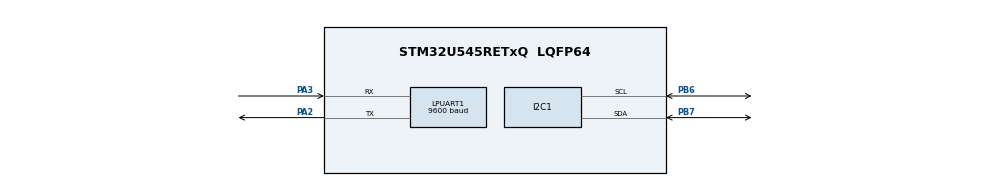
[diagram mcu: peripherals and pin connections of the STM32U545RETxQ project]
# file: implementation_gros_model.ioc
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CORTEX_M33_NS.userName=CORTEX_M33
I2C1.Timing=0x00000E14
LPUART1.BaudRate=9600
Mcu.Family=STM32U5
Mcu.Name=STM32U545RETxQ
Mcu.Package=LQFP64
NUCLEO-U545RE-Q.BUTTON=1
NUCLEO-U545RE-Q.Bsp_Common_DEMO=true
NUCLEO-U545RE-Q.LD2=true
NUCLEO-U545RE-Q.VCP=true
NVIC.EXTI13_IRQn=true\:0\:0\:false\:false\:true\:false\:true\:true
NVIC.PriorityGroup=NVIC_PRIORITYGROUP_4
PA2.Mode=Asynchronous
PA2.Signal=LPUART1_TX
PA3.Mode=Asynchronous
PA3.Signal=LPUART1_RX
PB6.Mode=I2C
PB6.Signal=I2C1_SCL
PB7.Mode=I2C
PB7.Signal=I2C1_SDA
PWR.PowerMode=PWR_SMPS_SUPPLY
ProjectManager.HeapSize=0x200
ProjectManager.StackSize=0x400
ProjectManager.TargetToolchain=Makefile
RCC.ADCFreq_Value=16000000
RCC.DACCLockSelectionVirtual=RCC_DAC1CLKSOURCE_LSI
RCC.DACCLockSelectionVirtualString=RCC_DAC1CLKSOURCE_LSI
RCC.EPOD_VALUE=4000000
RCC.HSE_VALUE=16000000
RCC.HSI48_VALUE=48000000
RCC.HSI_VALUE=16000000
RCC.LSE_VALUE=32768
RCC.LSIDIV_VALUE=32000
RCC.MSI_VALUE=4000000
RCC.USBFreq_Value=48000000
RCC.VCOOutputFreq_Value=516000000
STMicroelectronics.X-CUBE-AI.10.2.0.ActivationBufferSizeList=5268
STMicroelectronics.X-CUBE-AI.10.2.0.ActivationBuffers=pool0
STMicroelectronics.X-CUBE-AI.10.2.0.ActivationNames=pool0
STMicroelectronics.X-CUBE-AI.10.2.0.ActivationSizes=AI_NETWORK_DATA_ACTIVATION_1_SIZE
STMicroelectronics.X-CUBE-AI.10.2.0.ApplicationCcDeviceJjApplication=ApplicationTemplate
STMicroelectronics.X-CUBE-AI.10.2.0.HeapSize=0x800
STMicroelectronics.X-CUBE-AI.10.2.0.InternalRamActivationBufferMaxSize=AI_NETWORK_DATA_ACTIVATIONS_SIZE
STMicroelectronics.X-CUBE-AI.10.2.0.LatestDirectoryUsed-a1277354ddab46996f427bddab262354ac6ee6ef92c3f2f0c5960532abc43a86=/home/benjaminavocat-maulaz/Downloads
STMicroelectronics.X-CUBE-AI.10.2.0.MaximumNumberOfInputLayer=1
STMicroelectronics.X-CUBE-AI.10.2.0.MaximumNumberOfOutputLayer=1
STMicroelectronics.X-CUBE-AI.10.2.0.MaximumSizeOfInputLayer=1
STMicroelectronics.X-CUBE-AI.10.2.0.MaximumSizeOfOutputLayer=1
STMicroelectronics.X-CUBE-AI.10.2.0.ModelActualCompression-a1277354ddab46996f427bddab262354ac6ee6ef92c3f2f0c5960532abc43a86=0.0
STMicroelectronics.X-CUBE-AI.10.2.0.ModelCompression-a1277354ddab46996f427bddab262354ac6ee6ef92c3f2f0c5960532abc43a86=None
STMicroelectronics.X-CUBE-AI.10.2.0.ModelFlashOccupation-a1277354ddab46996f427bddab262354ac6ee6ef92c3f2f0c5960532abc43a86=397746
STMicroelectronics.X-CUBE-AI.10.2.0.ModelHashList=a1277354ddab46996f427bddab262354ac6ee6ef92c3f2f0c5960532abc43a86
STMicroelectronics.X-CUBE-AI.10.2.0.ModelKind-a1277354ddab46996f427bddab262354ac6ee6ef92c3f2f0c5960532abc43a86=TFLITE
STMicroelectronics.X-CUBE-AI.10.2.0.ModelMacc-a1277354ddab46996f427bddab262354ac6ee6ef92c3f2f0c5960532abc43a86=97232
STMicroelectronics.X-CUBE-AI.10.2.0.ModelName-a1277354ddab46996f427bddab262354ac6ee6ef92c3f2f0c5960532abc43a86=network
STMicroelectronics.X-CUBE-AI.10.2.0.ModelNameList=network
STMicroelectronics.X-CUBE-AI.10.2.0.ModelRamOccupation-a1277354ddab46996f427bddab262354ac6ee6ef92c3f2f0c5960532abc43a86=5268
STMicroelectronics.X-CUBE-AI.10.2.0.ModelStructureFile-a1277354ddab46996f427bddab262354ac6ee6ef92c3f2f0c5960532abc43a86=/home/benjaminavocat-maulaz/Downloads/meteo_multiclasse_fr_3capteurs_top1.tflite
STMicroelectronics.X-CUBE-AI.10.2.0.ModelType-a1277354ddab46996f427bddab262354ac6ee6ef92c3f2f0c5960532abc43a86=STM32Cube.AI MCU runtime
STMicroelectronics.X-CUBE-AI.10.2.0.ReadyForCodeGeneration=true
STMicroelectronics.X-CUBE-AI.10.2.0.StackSize=0x800
STMicroelectronics.X-CUBE-AI.10.2.0.WorkingBufferStartAddrList=0xFFFFFFFF
STMicroelectronics.X-CUBE-AI.10.2.0.XAaCUBEAaAICcArtificialOoIntelligenceJjCore=true
STMicroelectronics.X-CUBE-AI.10.2.0.copyWeightToRam=false
STMicroelectronics.X-CUBE-AI.10.2.0.copyWeightToRam-a1277354ddab46996f427bddab262354ac6ee6ef92c3f2f0c5960532abc43a86=false
STMicroelectronics.X-CUBE-AI.10.2.0.customLayerConfigEnabled=false
STMicroelectronics.X-CUBE-AI.10.2.0.customLayerConfigEnabled-a1277354ddab46996f427bddab262354ac6ee6ef92c3f2f0c5960532abc43a86=false
STMicroelectronics.X-CUBE-AI.10.2.0.noOnnxIoTranspose=false
STMicroelectronics.X-CUBE-AI.10.2.0.noOnnxIoTranspose-a1277354ddab46996f427bddab262354ac6ee6ef92c3f2f0c5960532abc43a86=false
STMicroelectronics.X-CUBE-AI.10.2.0.useInputAllocation=true
STMicroelectronics.X-CUBE-AI.10.2.0.useInputAllocation-a1277354ddab46996f427bddab262354ac6ee6ef92c3f2f0c5960532abc43a86=true
STMicroelectronics.X-CUBE-AI.10.2.0.useOutputAllocation=true
STMicroelectronics.X-CUBE-AI.10.2.0.useOutputAllocation-a1277354ddab46996f427bddab262354ac6ee6ef92c3f2f0c5960532abc43a86=true
VP_ICACHE_VS_ICACHE.Mode=DirectMappedCache
VP_LPBAMQUEUE_VS_QUEUE.Mode=QUEUEMODE
VP_MEMORYMAP_VS_MEMORYMAP.Mode=CurAppReg
VP_NUCLEO-U545RE-Q_VS_BSP_COMMON.Mode=COMMON
VP_PWR_VS_LPOM.Mode=PowerOptimisation
VP_PWR_VS_SECSignals.Mode=Security/Privilege
VP_STMicroelectronics.X-CUBE-AI_VS_ArtificialOoIntelligenceJjXAaCUBEAaAI_10.2.0.Mode=ArtificialOoIntelligenceJjXAaCUBEAaAI
VP_STMicroelectronics.X-CUBE-AI_VS_DeviceJjApplication_10.2.0.Mode=DeviceJjApplication
board=NUCLEO-U545RE-Q

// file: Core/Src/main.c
/* USER CODE BEGIN Header */
/**
  ******************************************************************************
  * @file           : main.c
  * @brief          : Main program body
  ******************************************************************************
  * @attention
  *
  * Copyright (c) 2026 STMicroelectronics.
  * All rights reserved.
  *
  * This software is licensed under terms that can be found in the LICENSE file
  * in the root directory of this software component.
  * If no LICENSE file comes with this software, it is provided AS-IS.
  *
  ******************************************************************************
  */
/* USER CODE END Header */
#include "main.h"
#include "app_x-cube-ai.h"

/* USER CODE BEGIN Includes */
#include <stdio.h>
#include <math.h>

/* USER CODE END Includes */

/* USER CODE BEGIN PD */

#define WHO_AM_I_REG              0x0FU
#define I2C_TIMEOUT_MS            100U
#define I2C_MAX_ADDRESS_7BIT      0x77U
#define LORA_SLEEP_CMD            "AT+LOWPOWER\r\n"
#define LORA_WAKE_CMD             "AT\r\n"

/* USER CODE END PD */

COM_InitTypeDef BspCOMInit;
__IO uint32_t BspButtonState = BUTTON_RELEASED;

I2C_HandleTypeDef hi2c1;

UART_HandleTypeDef hlpuart1;

void SystemClock_Config(void);
static void SystemPower_Config(void);
static void MX_GPIO_Init(void);
static void MX_ICACHE_Init(void);
static void MX_I2C1_Init(void);
static void MX_LPUART1_UART_Init(void);
/* USER CODE BEGIN PFP */
static void SleepForMs(uint32_t delay_ms);
static void LoRa_SendATAndPrintResponse(const char *label, const uint8_t *cmd, uint16_t cmd_len,
                                        uint32_t response_window_ms, uint32_t post_cmd_delay_ms);
static void I2C_PrintDetectedDevices(I2C_HandleTypeDef *hi2c);
static void I2C_ReadWhoAmI(I2C_HandleTypeDef *hi2c, uint16_t address_7bit, const char *label);
static void I2C_CheckSensorsWhoAmI(I2C_HandleTypeDef *hi2c);
void hts221_read_data_polling(float_t *humidity_out, float_t *temperature_out);
void lps22hh_read_data_polling(float_t *pressure_out, float_t *temperature_out);

/* USER CODE END PFP */

int main(void)
{

  /* MCU Configuration--------------------------------------------------------*/

  /* Reset of all peripherals, Initializes the Flash interface and the Systick. */
  HAL_Init();

  /* Configure the System Power */
  SystemPower_Config();

  /* Configure the system clock */
  SystemClock_Config();

  /* Initialize all configured peripherals */
  MX_GPIO_Init();
  MX_ICACHE_Init();
  MX_I2C1_Init();
  MX_LPUART1_UART_Init();
  MX_X_CUBE_AI_Init();

  /* Initialize led */
  BSP_LED_Init(LED_GREEN);

  /* Initialize USER push-button, will be used to trigger an interrupt each time it's pressed.*/
  BSP_PB_Init(BUTTON_USER, BUTTON_MODE_EXTI);

  /* Initialize COM1 port (115200, 8 bits (7-bit data + 1 stop bit), no parity */
  BspCOMInit.BaudRate   = 115200;
  BspCOMInit.WordLength = COM_WORDLENGTH_8B;
  BspCOMInit.StopBits   = COM_STOPBITS_1;
  BspCOMInit.Parity     = COM_PARITY_NONE;
  BspCOMInit.HwFlowCtl  = COM_HWCONTROL_NONE;
  if (BSP_COM_Init(COM1, &BspCOMInit) != BSP_ERROR_NONE)
  {
    Error_Handler();
  }

  /* USER CODE BEGIN BSP */

  /* -- Sample board code to send message over COM1 port ---- */
  printf("Welcome to STM32 world !\n\r");

  // Affiche les capteurs et leurs adresses via I2C
  I2C_CheckSensorsWhoAmI(&hi2c1);

  // Eteint la led verte de la carte
  BSP_LED_Off(LED_GREEN);

  /* USER CODE END BSP */

  /* Infinite loop */
  /* USER CODE BEGIN WHILE */

  // Connexion à la gateway Lora
  LoRa_SendATAndPrintResponse("AT", (const uint8_t *)"AT\r\n", sizeof("AT\r\n") - 1U, 500U, 1000U);
  LoRa_SendATAndPrintResponse("AT+MODE=LWOTAA", (const uint8_t *)"AT+MODE=LWOTAA\r\n",
                              sizeof("AT+MODE=LWOTAA\r\n") - 1U, 700U, 1000U);
  LoRa_SendATAndPrintResponse("AT+JOIN", (const uint8_t *)"AT+JOIN\r\n",
                              sizeof("AT+JOIN\r\n") - 1U, 2000U, 5000U);

  while (1)
  {

    /* USER CODE END WHILE */

  MX_X_CUBE_AI_Process();
    /* USER CODE BEGIN 3 */

    // Variables pour stocker les données des capteurs + la classe prédite par le modèle AI
    float_t pressure_hpa = 0.0f;
    float_t pressure_temperature_deg_c = 0.0f;
    float_t humidity_perc = 0.0f;
    float_t humidity_temperature_deg_c = 0.0f;
    char lora_cmd[96];
    int lora_cmd_len = 0;
    int32_t predicted_class = -1;

    // Reveil du module Lora pour l'envoi des données
    LoRa_SendATAndPrintResponse("AT(wake)", (const uint8_t *)LORA_WAKE_CMD,
                  sizeof(LORA_WAKE_CMD) - 1U, 500U, 300U);

    // Lecture des données des capteurs
    lps22hh_read_data_polling(&pressure_hpa, &pressure_temperature_deg_c);
    hts221_read_data_polling(&humidity_perc, &humidity_temperature_deg_c);

    // Récupération de la classe prédite par le modèle AI
    predicted_class = MX_X_CUBE_AI_GetLastPredictedClass();

    // Formatage de la payload à envoyer (ex: AT+MSG="P=1013.25,H=45.00,T=22.50,C=0")
    lora_cmd_len = snprintf(lora_cmd, sizeof(lora_cmd),
                "AT+MSG=\"P=%.2f,H=%.2f,T=%.2f,C=%ld\"\r\n",
                            (double)pressure_hpa,
                            (double)humidity_perc,
                (double)pressure_temperature_deg_c,
                (long)predicted_class);
    if ((lora_cmd_len > 0) && ((size_t)lora_cmd_len < sizeof(lora_cmd)))
    {
      LoRa_SendATAndPrintResponse("AT+MSG(sensor)", (const uint8_t *)lora_cmd,
                                  (uint16_t)lora_cmd_len, 3000U, 1000U);
    }
    else
    {
      printf("LoRa payload format error\n\r");
    }

    // Mise en sleep du lora
    LoRa_SendATAndPrintResponse("AT+LOWPOWER", (const uint8_t *)LORA_SLEEP_CMD,
                                sizeof(LORA_SLEEP_CMD) - 1U, 500U, 100U);

    // Veille pendant 30 secondes
    SleepForMs(30000);
  }
  /* USER CODE END 3 */
}

void SystemClock_Config(void)
{
  RCC_OscInitTypeDef RCC_OscInitStruct = {0};
  RCC_ClkInitTypeDef RCC_ClkInitStruct = {0};

  /** Configure the main internal regulator output voltage
  */
  if (HAL_PWREx_ControlVoltageScaling(PWR_REGULATOR_VOLTAGE_SCALE4) != HAL_OK)
  {
    Error_Handler();
  }

  /** Initializes the CPU, AHB and APB buses clocks
  */
  RCC_OscInitStruct.OscillatorType = RCC_OSCILLATORTYPE_MSI;
  RCC_OscInitStruct.MSIState = RCC_MSI_ON;
  RCC_OscInitStruct.MSICalibrationValue = RCC_MSICALIBRATION_DEFAULT;
  RCC_OscInitStruct.MSIClockRange = RCC_MSIRANGE_4;
  RCC_OscInitStruct.PLL.PLLState = RCC_PLL_NONE;
  if (HAL_RCC_OscConfig(&RCC_OscInitStruct) != HAL_OK)
  {
    Error_Handler();
  }

  /** Initializes the CPU, AHB and APB buses clocks
  */
  RCC_ClkInitStruct.ClockType = RCC_CLOCKTYPE_HCLK|RCC_CLOCKTYPE_SYSCLK
                              |RCC_CLOCKTYPE_PCLK1|RCC_CLOCKTYPE_PCLK2
                              |RCC_CLOCKTYPE_PCLK3;
  RCC_ClkInitStruct.SYSCLKSource = RCC_SYSCLKSOURCE_MSI;
  RCC_ClkInitStruct.AHBCLKDivider = RCC_SYSCLK_DIV1;
  RCC_ClkInitStruct.APB1CLKDivider = RCC_HCLK_DIV1;
  RCC_ClkInitStruct.APB2CLKDivider = RCC_HCLK_DIV1;
  RCC_ClkInitStruct.APB3CLKDivider = RCC_HCLK_DIV1;

  if (HAL_RCC_ClockConfig(&RCC_ClkInitStruct, FLASH_LATENCY_0) != HAL_OK)
  {
    Error_Handler();
  }
}

/**
  * @brief Power Configuration
  * @retval None
  */
static void SystemPower_Config(void)
{

  /*
   * Switch to SMPS regulator instead of LDO
   */
  if (HAL_PWREx_ConfigSupply(PWR_SMPS_SUPPLY) != HAL_OK)
  {
    Error_Handler();
  }
}

static void MX_I2C1_Init(void)
{

  hi2c1.Instance = I2C1;
  hi2c1.Init.Timing = 0x00000E14;
  hi2c1.Init.OwnAddress1 = 0;
  hi2c1.Init.AddressingMode = I2C_ADDRESSINGMODE_7BIT;
  hi2c1.Init.DualAddressMode = I2C_DUALADDRESS_DISABLE;
  hi2c1.Init.OwnAddress2 = 0;
  hi2c1.Init.OwnAddress2Masks = I2C_OA2_NOMASK;
  hi2c1.Init.GeneralCallMode = I2C_GENERALCALL_DISABLE;
  hi2c1.Init.NoStretchMode = I2C_NOSTRETCH_DISABLE;
  if (HAL_I2C_Init(&hi2c1) != HAL_OK)
  {
    Error_Handler();
  }

  /** Configure Analogue filter
  */
  if (HAL_I2CEx_ConfigAnalogFilter(&hi2c1, I2C_ANALOGFILTER_ENABLE) != HAL_OK)
  {
    Error_Handler();
  }

  /** Configure Digital filter
  */
  if (HAL_I2CEx_ConfigDigitalFilter(&hi2c1, 0) != HAL_OK)
  {
    Error_Handler();
  }

}

static void MX_ICACHE_Init(void)
{

  /** Enable instruction cache in 1-way (direct mapped cache)
  */
  if (HAL_ICACHE_ConfigAssociativityMode(ICACHE_1WAY) != HAL_OK)
  {
    Error_Handler();
  }
  if (HAL_ICACHE_Enable() != HAL_OK)
  {
    Error_Handler();
  }

}

static void MX_LPUART1_UART_Init(void)
{

  hlpuart1.Instance = LPUART1;
  hlpuart1.Init.BaudRate = 9600;
  hlpuart1.Init.WordLength = UART_WORDLENGTH_8B;
  hlpuart1.Init.StopBits = UART_STOPBITS_1;
  hlpuart1.Init.Parity = UART_PARITY_NONE;
  hlpuart1.Init.Mode = UART_MODE_TX_RX;
  hlpuart1.Init.HwFlowCtl = UART_HWCONTROL_NONE;
  hlpuart1.Init.OneBitSampling = UART_ONE_BIT_SAMPLE_DISABLE;
  hlpuart1.Init.ClockPrescaler = UART_PRESCALER_DIV1;
  hlpuart1.AdvancedInit.AdvFeatureInit = UART_ADVFEATURE_NO_INIT;
  hlpuart1.FifoMode = UART_FIFOMODE_DISABLE;
  if (HAL_UART_Init(&hlpuart1) != HAL_OK)
  {
    Error_Handler();
  }
  if (HAL_UARTEx_SetTxFifoThreshold(&hlpuart1, UART_TXFIFO_THRESHOLD_1_8) != HAL_OK)
  {
    Error_Handler();
  }
  if (HAL_UARTEx_SetRxFifoThreshold(&hlpuart1, UART_RXFIFO_THRESHOLD_1_8) != HAL_OK)
  {
    Error_Handler();
  }
  if (HAL_UARTEx_DisableFifoMode(&hlpuart1) != HAL_OK)
  {
    Error_Handler();
  }

}

static void MX_GPIO_Init(void)
{

  /* GPIO Ports Clock Enable */
  __HAL_RCC_GPIOA_CLK_ENABLE();
  __HAL_RCC_GPIOB_CLK_ENABLE();

}

/* USER CODE BEGIN 4 */

static void SleepForMs(uint32_t delay_ms)
{
  const uint32_t start = HAL_GetTick();

  while ((HAL_GetTick() - start) < delay_ms)
  {
    /* Enter Sleep mode until next interrupt (SysTick or external IRQ). */
    HAL_PWR_EnterSLEEPMode(PWR_MAINREGULATOR_ON, PWR_SLEEPENTRY_WFI);
  }
}

static void LoRa_SendATAndPrintResponse(const char *label, const uint8_t *cmd, uint16_t cmd_len,
                                        uint32_t response_window_ms, uint32_t post_cmd_delay_ms)
{
  uint8_t rx_byte = 0U;
  char response[128];
  uint32_t response_len = 0U;
  uint32_t start = 0U;
  uint32_t last_rx_tick = 0U;

  (void)HAL_UART_Transmit(&hlpuart1, (uint8_t *)cmd, cmd_len, HAL_MAX_DELAY);

  start = HAL_GetTick();
  last_rx_tick = start;

  while ((HAL_GetTick() - start) < response_window_ms)
  {
    if (HAL_UART_Receive(&hlpuart1, &rx_byte, 1U, 20U) == HAL_OK)
    {
      if (response_len < (sizeof(response) - 1U))
      {
        response[response_len++] = (char)rx_byte;
      }
      last_rx_tick = HAL_GetTick();
    }
    else
    {
      /* Stop quickly after end of frame once data has started to arrive. */
      if ((response_len > 0U) && ((HAL_GetTick() - last_rx_tick) > 120U))
      {
        break;
      }
    }
  }

  response[response_len] = '\0';

  if (response_len > 0U)
  {
    printf("LoRa response to %s: %s", label, response);
    if (response[response_len - 1U] != '\n')
    {
      printf("\n\r");
    }
  }
  else
  {
    printf("LoRa response to %s: (no response)\n\r", label);
  }

  HAL_Delay(post_cmd_delay_ms);
}

static void I2C_PrintDetectedDevices(I2C_HandleTypeDef *hi2c)
{
  uint8_t found = 0U;

  printf("I2C scan start...\n\r");
  for (uint16_t addr = 1U; addr <= I2C_MAX_ADDRESS_7BIT; addr++)
  {
    const uint16_t dev_addr = (uint16_t)(addr << 1U);
    if (HAL_I2C_IsDeviceReady(hi2c, dev_addr, 2U, I2C_TIMEOUT_MS) == HAL_OK)
    {
      found = 1U;
      printf("  - device at 7-bit address 0x%02X\n\r", (unsigned int)addr);
    }
  }

  if (found == 0U)
  {
    printf("  - no I2C device detected\n\r");
  }
}

static void I2C_ReadWhoAmI(I2C_HandleTypeDef *hi2c, uint16_t address_7bit, const char *label)
{
  uint8_t who_am_i = 0U;
  const uint16_t dev_addr = (uint16_t)(address_7bit << 1U);

  if (HAL_I2C_IsDeviceReady(hi2c, dev_addr, 2U, I2C_TIMEOUT_MS) != HAL_OK)
  {
    printf("%s @0x%02X: not responding\n\r", label, (unsigned int)address_7bit);
    return;
  }

  if (HAL_I2C_Mem_Read(hi2c, dev_addr, WHO_AM_I_REG, I2C_MEMADD_SIZE_8BIT,
                       &who_am_i, 1U, I2C_TIMEOUT_MS) == HAL_OK)
  {
    printf("%s @0x%02X: WHO_AM_I = 0x%02X\n\r", label,
           (unsigned int)address_7bit, (unsigned int)who_am_i);
  }
  else
  {
    printf("%s @0x%02X: WHO_AM_I read failed\n\r", label, (unsigned int)address_7bit);
  }
}

static void I2C_CheckSensorsWhoAmI(I2C_HandleTypeDef *hi2c)
{
  printf("\n\r=== I2C sensor check ===\n\r");
  I2C_PrintDetectedDevices(hi2c);

  /* Common ST MEMS addresses (WHO_AM_I register is usually 0x0F). */
  I2C_ReadWhoAmI(hi2c, 0x1EU, "LIS2MDL/LIS3MDL");
  I2C_ReadWhoAmI(hi2c, 0x18U, "LIS2DW12/IIS2DLPC");
  I2C_ReadWhoAmI(hi2c, 0x19U, "LIS2DW12/IIS2DLPC");
  I2C_ReadWhoAmI(hi2c, 0x5CU, "LPS22xx");
  I2C_ReadWhoAmI(hi2c, 0x5DU, "LPS22xx");
  I2C_ReadWhoAmI(hi2c, 0x5FU, "HTS221");
  I2C_ReadWhoAmI(hi2c, 0x6AU, "LSM6DSx");
  I2C_ReadWhoAmI(hi2c, 0x6BU, "LSM6DSx");
  printf("=== end of I2C sensor check ===\n\r\n\r");
}

/* USER CODE END 4 */

/**
  * @brief BSP Push Button callback
  * @param Button Specifies the pressed button
  * @retval None
  */
void BSP_PB_Callback(Button_TypeDef Button)
{
  if (Button == BUTTON_USER)
  {
    BspButtonState = BUTTON_PRESSED;
  }
}

void Error_Handler(void)
{
  __disable_irq();
  while (1)
  {
  }
}
